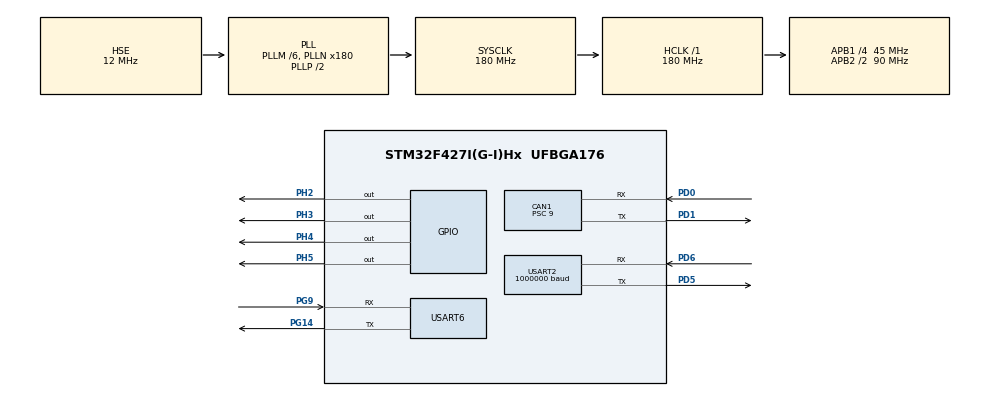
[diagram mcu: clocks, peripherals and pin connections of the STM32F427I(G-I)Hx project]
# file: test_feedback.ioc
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CAN1.ABOM=ENABLE
CAN1.BS1=CAN_BS1_2TQ
CAN1.BS2=CAN_BS2_2TQ
CAN1.CalculateBaudRate=1000000
CAN1.CalculateTimeBit=1000
CAN1.CalculateTimeQuantum=200.0
CAN1.Prescaler=9
Dma.Request0=USART2_RX
Dma.Request1=USART2_TX
Dma.Request2=USART6_RX
Dma.Request3=USART6_TX
Dma.USART2_RX.0.Direction=DMA_PERIPH_TO_MEMORY
Dma.USART2_RX.0.FIFOMode=DMA_FIFOMODE_DISABLE
Dma.USART2_RX.0.Instance=DMA1_Stream5
Dma.USART2_RX.0.MemDataAlignment=DMA_MDATAALIGN_BYTE
Dma.USART2_RX.0.MemInc=DMA_MINC_ENABLE
Dma.USART2_RX.0.Mode=DMA_NORMAL
Dma.USART2_RX.0.PeriphDataAlignment=DMA_PDATAALIGN_BYTE
Dma.USART2_RX.0.PeriphInc=DMA_PINC_DISABLE
Dma.USART2_RX.0.Priority=DMA_PRIORITY_LOW
Dma.USART2_TX.1.Direction=DMA_MEMORY_TO_PERIPH
Dma.USART2_TX.1.FIFOMode=DMA_FIFOMODE_DISABLE
Dma.USART2_TX.1.Instance=DMA1_Stream6
Dma.USART2_TX.1.MemDataAlignment=DMA_MDATAALIGN_BYTE
Dma.USART2_TX.1.MemInc=DMA_MINC_ENABLE
Dma.USART2_TX.1.Mode=DMA_NORMAL
Dma.USART2_TX.1.PeriphDataAlignment=DMA_PDATAALIGN_BYTE
Dma.USART2_TX.1.PeriphInc=DMA_PINC_DISABLE
Dma.USART2_TX.1.Priority=DMA_PRIORITY_LOW
Dma.USART6_RX.2.Direction=DMA_PERIPH_TO_MEMORY
Dma.USART6_RX.2.FIFOMode=DMA_FIFOMODE_DISABLE
Dma.USART6_RX.2.Instance=DMA2_Stream1
Dma.USART6_RX.2.MemDataAlignment=DMA_MDATAALIGN_BYTE
Dma.USART6_RX.2.MemInc=DMA_MINC_ENABLE
Dma.USART6_RX.2.Mode=DMA_NORMAL
Dma.USART6_RX.2.PeriphDataAlignment=DMA_PDATAALIGN_BYTE
Dma.USART6_RX.2.PeriphInc=DMA_PINC_DISABLE
Dma.USART6_RX.2.Priority=DMA_PRIORITY_LOW
Dma.USART6_TX.3.Direction=DMA_MEMORY_TO_PERIPH
Dma.USART6_TX.3.FIFOMode=DMA_FIFOMODE_DISABLE
Dma.USART6_TX.3.Instance=DMA2_Stream6
Dma.USART6_TX.3.MemDataAlignment=DMA_MDATAALIGN_BYTE
Dma.USART6_TX.3.MemInc=DMA_MINC_ENABLE
Dma.USART6_TX.3.Mode=DMA_NORMAL
Dma.USART6_TX.3.PeriphDataAlignment=DMA_PDATAALIGN_BYTE
Dma.USART6_TX.3.PeriphInc=DMA_PINC_DISABLE
Dma.USART6_TX.3.Priority=DMA_PRIORITY_LOW
FREERTOS.Tasks01=TaskJ4310,24,128,StartTaskJ4310,Default,NULL,Dynamic,NULL,NULL;Task3508,24,512,StartTask3508,Default,NULL,Dynamic,NULL,NULL
Mcu.Family=STM32F4
Mcu.Name=STM32F427I(G-I)Hx
Mcu.Package=UFBGA176
NVIC.CAN1_RX0_IRQn=true\:5\:0\:false\:false\:true\:true\:true\:true\:true
NVIC.CAN1_RX1_IRQn=true\:5\:0\:false\:false\:true\:true\:true\:true\:true
NVIC.DMA1_Stream5_IRQn=true\:5\:0\:false\:false\:true\:true\:false\:true\:true
NVIC.DMA1_Stream6_IRQn=true\:5\:0\:false\:false\:true\:true\:false\:true\:true
NVIC.DMA2_Stream1_IRQn=true\:5\:0\:false\:false\:true\:true\:false\:true\:true
NVIC.DMA2_Stream6_IRQn=true\:5\:0\:false\:false\:true\:true\:false\:true\:true
NVIC.PriorityGroup=NVIC_PRIORITYGROUP_4
NVIC.TIM8_TRG_COM_TIM14_IRQn=true\:15\:0\:false\:false\:true\:false\:false\:true\:true
NVIC.TimeBase=TIM8_TRG_COM_TIM14_IRQn
NVIC.TimeBaseIP=TIM14
NVIC.USART2_IRQn=true\:5\:0\:false\:false\:true\:true\:true\:true\:true
NVIC.USART6_IRQn=true\:5\:0\:false\:false\:true\:true\:true\:true\:true
PA13.Mode=Serial_Wire
PA13.Signal=SYS_JTMS-SWDIO
PA14.Mode=Serial_Wire
PA14.Signal=SYS_JTCK-SWCLK
PD0.Mode=CAN_Activate
PD0.Signal=CAN1_RX
PD1.Mode=CAN_Activate
PD1.Signal=CAN1_TX
PD5.Mode=Asynchronous
PD5.Signal=USART2_TX
PD6.Mode=Asynchronous
PD6.Signal=USART2_RX
PG14.Mode=Asynchronous
PG14.Signal=USART6_TX
PG9.Mode=Asynchronous
PG9.Signal=USART6_RX
PH0/OSC_IN.Mode=HSE-External-Oscillator
PH0/OSC_IN.Signal=RCC_OSC_IN
PH1/OSC_OUT.Mode=HSE-External-Oscillator
PH1/OSC_OUT.Signal=RCC_OSC_OUT
PH2.GPIO_PuPd=GPIO_PULLDOWN
PH2.Signal=GPIO_Output
PH3.GPIO_PuPd=GPIO_PULLDOWN
PH3.Signal=GPIO_Output
PH4.GPIO_PuPd=GPIO_PULLDOWN
PH4.Signal=GPIO_Output
PH5.GPIO_PuPd=GPIO_PULLDOWN
PH5.Signal=GPIO_Output
ProjectManager.HeapSize=0x200
ProjectManager.StackSize=0x400
ProjectManager.TargetToolchain=CMake
RCC.48MHZClocksFreq_Value=90000000
RCC.AHBFreq_Value=180000000
RCC.APB1CLKDivider=RCC_HCLK_DIV4
RCC.APB1Freq_Value=45000000
RCC.APB1TimFreq_Value=90000000
RCC.APB2CLKDivider=RCC_HCLK_DIV2
RCC.APB2Freq_Value=90000000
RCC.APB2TimFreq_Value=180000000
RCC.CortexFreq_Value=180000000
RCC.HCLKFreq_Value=180000000
RCC.HSE_VALUE=12000000
RCC.HSI_VALUE=16000000
RCC.LSE_VALUE=32768
RCC.PLLM=6
RCC.PLLN=180
RCC.PLLSourceVirtual=RCC_PLLSOURCE_HSE
RCC.SYSCLKFreq_VALUE=180000000
RCC.SYSCLKSource=RCC_SYSCLKSOURCE_PLLCLK
RCC.VCOOutputFreq_Value=360000000
USART2.BaudRate=1000000
USART2.VirtualMode=VM_ASYNC
USART6.VirtualMode=VM_ASYNC
VP_FREERTOS_VS_CMSIS_V2.Mode=CMSIS_V2
VP_SYS_VS_tim14.Mode=TIM14
board=custom

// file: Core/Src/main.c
/* USER CODE BEGIN Header */
/**
 ******************************************************************************
 * @file           : main.c
 * @brief          : Main program body
 ******************************************************************************
 * @attention
 *
 * Copyright (c) 2023 STMicroelectronics.
 * All rights reserved.
 *
 * This software is licensed under terms that can be found in the LICENSE file
 * in the root directory of this software component.
 * If no LICENSE file comes with this software, it is provided AS-IS.
 *
 ******************************************************************************
 */
/* USER CODE END Header */
#include "main.h"
#include "cmsis_os.h"
#include "can.h"
#include "dma.h"
#include "usart.h"
#include "gpio.h"

/* USER CODE BEGIN Includes */
/* If this file is compiled as C++, ensure C linkage for CubeMX/FreeRTOS
  functions and callbacks implemented in C source files. Put C++ headers
  after the extern "C" block. */
#ifdef __cplusplus
extern "C" {
#endif

#include "FreeRTOS.h"

/* Declarations for functions implemented in C sources (freertos.c, drv code)
  that are called from this translation unit. Placing them here inside the
  USER CODE block prevents CubeMX from overwriting them. */
void MX_FREERTOS_Init(void);

#ifdef __cplusplus
}
#endif

/* C++ headers (classes, templates, etc.) */
#include "drv_bsp.h"
#include "drv_tim.h"
#include "dvc_serialplot.h"
#include "dvc_motor.h"
#include "dvc_motor_dm.h"
#include "motor_dm_task.h"
#include "motor_dji_task.h"

/* USER CODE END Includes */

/* USER CODE BEGIN PV */

extern TIM_HandleTypeDef htim14;

bool init_finished = false;

/* USER CODE END PV */

void SystemClock_Config(void);
void MX_FREERTOS_Init(void);
/* USER CODE BEGIN PFP */

void TIM14_Callback(void);

/* USER CODE END PFP */

int main(void)
{

  /* MCU Configuration--------------------------------------------------------*/

  /* Reset of all peripherals, Initializes the Flash interface and the Systick. */
  HAL_Init();

  /* Configure the system clock */
  SystemClock_Config();

  /* Initialize all configured peripherals */
  MX_GPIO_Init();
  MX_DMA_Init();
  MX_CAN1_Init();
  MX_USART2_UART_Init();
  MX_USART6_UART_Init();
  /* USER CODE BEGIN 2 */

  // 注册TIM14的回调函数用于系统时基
  TIM_Init(&htim14, TIM14_Callback);

  // 初始化完成，允许定时器中断回调执行
  init_finished = true;

  /* USER CODE END 2 */

  /* Init scheduler */
  osKernelInitialize();  /* Call init function for freertos objects (in cmsis_os2.c) */
  MX_FREERTOS_Init();

  /* Start scheduler */
  osKernelStart();

  /* We should never get here as control is now taken by the scheduler */

  /* Infinite loop */
  while (1)
  {

    }
}

void SystemClock_Config(void)
{
  RCC_OscInitTypeDef RCC_OscInitStruct = {0};
  RCC_ClkInitTypeDef RCC_ClkInitStruct = {0};

  /** Configure the main internal regulator output voltage
  */
  __HAL_RCC_PWR_CLK_ENABLE();
  __HAL_PWR_VOLTAGESCALING_CONFIG(PWR_REGULATOR_VOLTAGE_SCALE1);

  /** Initializes the RCC Oscillators according to the specified parameters
  * in the RCC_OscInitTypeDef structure.
  */
  RCC_OscInitStruct.OscillatorType = RCC_OSCILLATORTYPE_HSE;
  RCC_OscInitStruct.HSEState = RCC_HSE_ON;
  RCC_OscInitStruct.PLL.PLLState = RCC_PLL_ON;
  RCC_OscInitStruct.PLL.PLLSource = RCC_PLLSOURCE_HSE;
  RCC_OscInitStruct.PLL.PLLM = 6;
  RCC_OscInitStruct.PLL.PLLN = 180;
  RCC_OscInitStruct.PLL.PLLP = RCC_PLLP_DIV2;
  RCC_OscInitStruct.PLL.PLLQ = 4;
  if (HAL_RCC_OscConfig(&RCC_OscInitStruct) != HAL_OK)
  {
    Error_Handler();
  }

  /** Activate the Over-Drive mode
  */
  if (HAL_PWREx_EnableOverDrive() != HAL_OK)
  {
    Error_Handler();
  }

  /** Initializes the CPU, AHB and APB buses clocks
  */
  RCC_ClkInitStruct.ClockType = RCC_CLOCKTYPE_HCLK|RCC_CLOCKTYPE_SYSCLK
                              |RCC_CLOCKTYPE_PCLK1|RCC_CLOCKTYPE_PCLK2;
  RCC_ClkInitStruct.SYSCLKSource = RCC_SYSCLKSOURCE_PLLCLK;
  RCC_ClkInitStruct.AHBCLKDivider = RCC_SYSCLK_DIV1;
  RCC_ClkInitStruct.APB1CLKDivider = RCC_HCLK_DIV4;
  RCC_ClkInitStruct.APB2CLKDivider = RCC_HCLK_DIV2;

  if (HAL_RCC_ClockConfig(&RCC_ClkInitStruct, FLASH_LATENCY_5) != HAL_OK)
  {
    Error_Handler();
  }
}

/* USER CODE BEGIN 4 */

/**
 * @brief TIM14系统时基回调函数 (用于BSP库的TIM中断处理)
 */
void TIM14_Callback(void)
{
  HAL_IncTick();
}

/* USER CODE END 4 */

void Error_Handler(void)
{
    __disable_irq();
    while (1)
    {
    }
}

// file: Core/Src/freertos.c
/* USER CODE BEGIN Header */
/**
  ******************************************************************************
  * File Name          : freertos.c
  * Description        : Code for freertos applications
  ******************************************************************************
  * @attention
  *
  * Copyright (c) 2025 STMicroelectronics.
  * All rights reserved.
  *
  * This software is licensed under terms that can be found in the LICENSE file
  * in the root directory of this software component.
  * If no LICENSE file comes with this software, it is provided AS-IS.
  *
  ******************************************************************************
  */
/* USER CODE END Header */

#include "FreeRTOS.h"
#include "task.h"
#include "main.h"
#include "cmsis_os.h"
#include "tsk_config_and_callback.h"

/* Definitions for TaskJ4310 */
osThreadId_t TaskJ4310Handle;
const osThreadAttr_t TaskJ4310_attributes = {
  .name = "TaskJ4310",
  .stack_size = 128 * 4,
  .priority = (osPriority_t) osPriorityNormal,
};
/* Definitions for Task3508 */
osThreadId_t Task3508Handle;
const osThreadAttr_t Task3508_attributes = {
  .name = "Task3508",
  .stack_size = 512 * 4,
  .priority = (osPriority_t) osPriorityNormal,
};

/* USER CODE BEGIN FunctionPrototypes */
extern void J4310_Task(void *argument);
extern void DJI_M3508_Task(void *argument);
/* USER CODE END FunctionPrototypes */

void StartTaskJ4310(void *argument);
void StartTask3508(void *argument);

void MX_FREERTOS_Init(void); /* (MISRA C 2004 rule 8.1) */

void MX_FREERTOS_Init(void) {
  /* USER CODE BEGIN Init */

  // 在FreeRTOS初始化函数中调用全局任务初始化函数
  Task_Init();

  /* USER CODE END Init */

  /* Create the thread(s) */
  /* creation of TaskJ4310 */
  TaskJ4310Handle = osThreadNew(StartTaskJ4310, NULL, &TaskJ4310_attributes);

  /* creation of Task3508 */
  Task3508Handle = osThreadNew(StartTask3508, NULL, &Task3508_attributes);

}

void StartTaskJ4310(void *argument)
{
  /* USER CODE BEGIN StartTaskJ4310 */
  /* 现在把任务循环移入到 API 实现中，直接调用一次作为任务入口 */
  J4310_Task(argument);
  for(;;)
  {
      osDelay(1);
  }
  /* USER CODE END StartTaskJ4310 */
}

void StartTask3508(void *argument)
{
  /* USER CODE BEGIN StartTask3508 */
  DJI_M3508_Task(argument);
  for(;;)
  {
      osDelay(1);
  }
  /* USER CODE END StartTask3508 */
}
